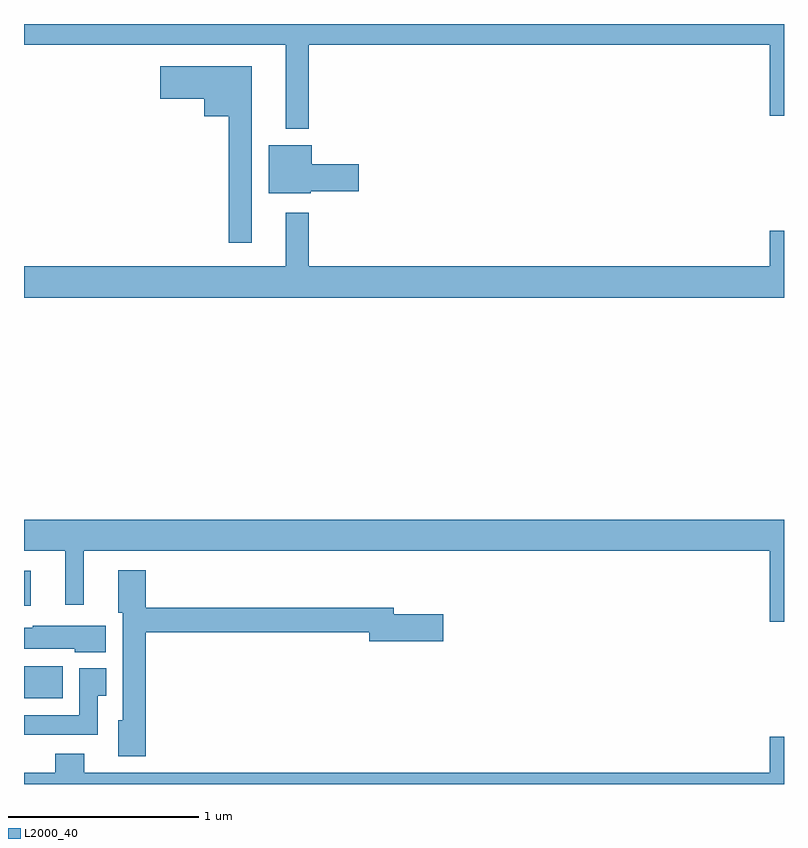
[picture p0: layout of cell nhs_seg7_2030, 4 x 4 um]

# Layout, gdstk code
import gdstk
lib = gdstk.Library(unit=1e-6, precision=1e-09)
def R(c, l, rs):  # rectangles x0, y0, x1, y1
    for r in rs: c.add(gdstk.rectangle(r[:2], r[2:], *l))
def P(c, l, *ps):  # polygons
    for p in ps: c.add(gdstk.Polygon(p, *l))
L2000_40 = (2000, 40)

nhs_seg7_2030 = lib.new_cell('nhs_seg7_2030')
R(nhs_seg7_2030, L2000_40, [(245,1054.451,245.203,1054.621), (245,1054.937,245.036,1055.122)])
P(nhs_seg7_2030, L2000_40, [(246.499,1057.892),(248.924,1057.892),(248.924,1057.518),(249,1057.518),(249,1058),(245,1058),(245,1057.892),(246.377,1057.892),(246.377,1057.448),(246.499,1057.448)],
  [(246.199,1057.777),(245.718,1057.777),(245.718,1057.607),(245.948,1057.607),(245.948,1057.514),(246.078,1057.514),(246.078,1056.849),(246.199,1056.849)],
  [(246.51,1057.12),(246.763,1057.12),(246.763,1057.262),(246.514,1057.262),(246.514,1057.363),(246.287,1057.363),(246.287,1057.109),(246.51,1057.109)],
  [(246.377,1057.006),(246.377,1056.724),(245,1056.724),(245,1056.56),(249,1056.56),(249,1056.913),(248.924,1056.913),(248.924,1056.724),(246.499,1056.724),(246.499,1057.006)],
  [(249,1055.392),(245,1055.392),(245,1055.228),(245.216,1055.228),(245.216,1054.944),(245.315,1054.944),(245.315,1055.228),(248.924,1055.228),(248.924,1054.854),(249,1054.854)],
  [(245.642,1054.798),(246.818,1054.798),(246.818,1054.751),(247.207,1054.751),(247.207,1054.893),(246.946,1054.893),(246.946,1054.927),(245.642,1054.927),(245.642,1055.125),(245.495,1055.125),(245.495,1054.902),(245.519,1054.902),(245.519,1054.335),(245.495,1054.335),(245.495,1054.145),(245.642,1054.145)],
  [(245.431,1054.834),(245.046,1054.834),(245.046,1054.822),(245,1054.822),(245,1054.712),(245.268,1054.712),(245.268,1054.694),(245.431,1054.694)],
  [(245.389,1054.465),(245.434,1054.465),(245.434,1054.609),(245.292,1054.609),(245.292,1054.363),(245,1054.363),(245,1054.259),(245.389,1054.259)],
  [(249,1054.249),(248.924,1054.249),(248.924,1054.06),(245.317,1054.06),(245.317,1054.159),(245.165,1054.159),(245.165,1054.06),(245,1054.06),(245,1054),(249,1054)])

lib.write_gds('nhs_seg7_2030.gds')
